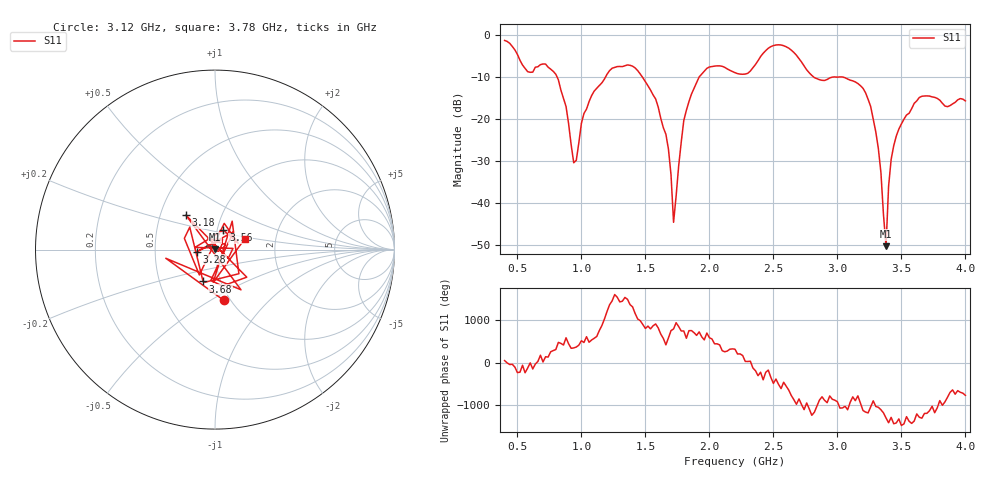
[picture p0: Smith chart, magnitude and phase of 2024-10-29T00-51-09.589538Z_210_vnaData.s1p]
!Created with skrf (http://scikit-rf.org).
# Hz S RI R 50.0
!freq ReS11 ImS11
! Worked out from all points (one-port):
!   181 points, 400 MHz to 4 GHz, reference 50 ohm
!   lowest |S11| = -50.2 dB at 3.38 GHz (marker M1), VSWR 1.01, Z = 49.8 + j0.186 ohm
!   |S11| at or under -10 dB: 811 MHz to 1.187 GHz (376.3 MHz wide, 37.7 % of centre); 1.478 GHz to 1.919 GHz (440.7 MHz wide, 26 % of centre); 3.049 GHz to end of sweep (the widest 3 of 4)
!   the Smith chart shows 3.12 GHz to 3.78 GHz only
!   S11 on the Smith chart (normalised r, x): 3.12 GHz: 0.93, -0.57; 3.18 GHz: 0.68, +0.28; 3.28 GHz: 0.82, -0.02; 3.56 GHz: 1.07, +0.23; 3.68 GHz: 0.82, -0.30; 3.78 GHz: 1.39, +0.18
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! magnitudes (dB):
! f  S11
! 400 MHz  -1.2
! 580 MHz  -8.7
! 780 MHz  -8.6
! 860 MHz  -15.0
! 940 MHz  -30.3
! 1.08 GHz  -14.3
! 1.3 GHz  -7.4
! 1.58 GHz  -15.1
! 1.68 GHz  -27.1
! 1.72 GHz  -44.5
! 1.76 GHz  -31.1
! 1.8 GHz  -20.3
! 1.92 GHz  -9.9
! 2.2 GHz  -8.9
! 2.66 GHz  -4.1
! 2.82 GHz  -10.1
! 3.1 GHz  -10.7
! 3.12 GHz  -10.8
! 3.18 GHz  -12.0
! 3.28 GHz  -19.9
! 3.34 GHz  -32.6
! 3.38 GHz  -50.2
! 3.4 GHz  -35.9
! 3.42 GHz  -29.5
! 3.56 GHz  -18.6
! 3.68 GHz  -14.4
! 3.78 GHz  -15.0
! 4 GHz  -15.6
